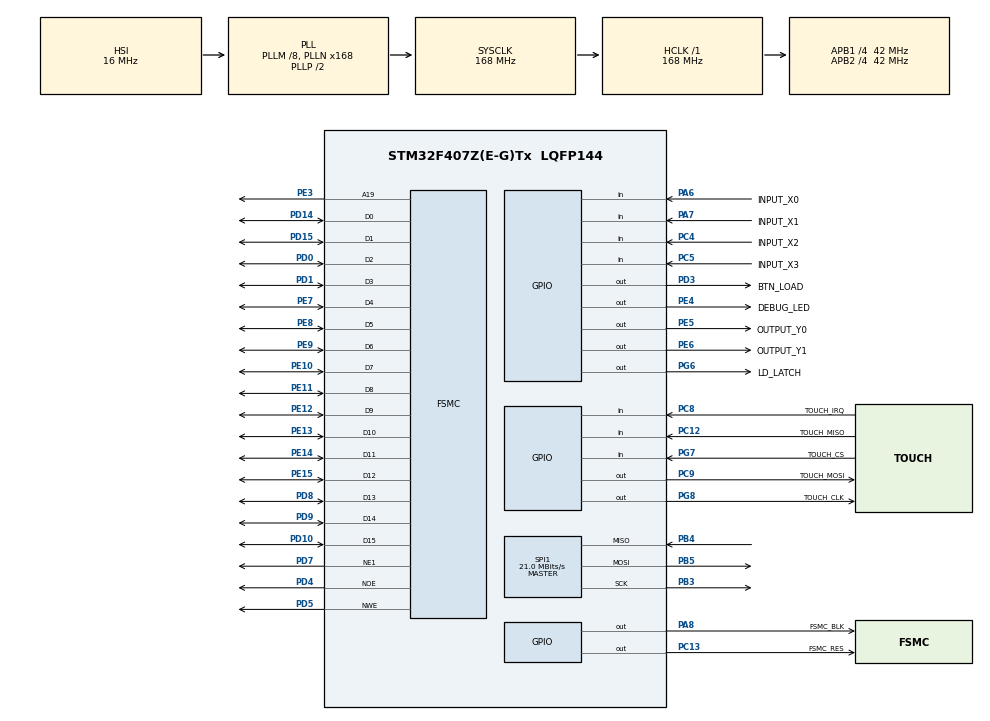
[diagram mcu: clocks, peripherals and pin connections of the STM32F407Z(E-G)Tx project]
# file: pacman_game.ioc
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FSMC.AddressSetupTime1=0xf
FSMC.BusTurnAroundDuration1=0
FSMC.DataSetupTime1=60
FSMC.ExtendedAddressSetupTime1=8
FSMC.ExtendedBusTurnAroundDuration1=0
FSMC.ExtendedDataSetupTime1=9
FSMC.ExtendedMode1=FSMC_EXTENDED_MODE_ENABLE
Mcu.Family=STM32F4
Mcu.Name=STM32F407Z(E-G)Tx
Mcu.Package=LQFP144
NVIC.PriorityGroup=NVIC_PRIORITYGROUP_4
NVIC.TIM2_IRQn=true\:0\:0\:false\:false\:true\:true\:true\:true
NVIC.TIM4_IRQn=true\:0\:0\:false\:false\:true\:true\:true\:true
PA13.Mode=Serial_Wire
PA13.Signal=SYS_JTMS-SWDIO
PA14.Mode=Serial_Wire
PA14.Signal=SYS_JTCK-SWCLK
PA6.GPIO_Label=INPUT_X0
PA6.Signal=GPIO_Input
PA7.GPIO_Label=INPUT_X1
PA7.Signal=GPIO_Input
PA8.GPIO_Label=FSMC_BLK
PA8.Signal=GPIO_Output
PB3.Mode=Full_Duplex_Master
PB3.Signal=SPI1_SCK
PB4.Mode=Full_Duplex_Master
PB4.Signal=SPI1_MISO
PB5.Mode=Full_Duplex_Master
PB5.Signal=SPI1_MOSI
PC12.GPIO_Label=TOUCH_MISO
PC12.Signal=GPIO_Input
PC13-ANTI_TAMP.GPIO_Label=FSMC_RES
PC13-ANTI_TAMP.Signal=GPIO_Output
PC4.GPIO_Label=INPUT_X2
PC4.Signal=GPIO_Input
PC5.GPIO_Label=INPUT_X3
PC5.Signal=GPIO_Input
PC8.GPIO_Label=TOUCH_IRQ
PC8.GPIO_PuPd=GPIO_NOPULL
PC8.Signal=GPIO_Input
PC9.GPIO_Label=TOUCH_MOSI
PC9.Signal=GPIO_Output
PD0.Signal=FSMC_D2_DA2
PD1.Signal=FSMC_D3_DA3
PD10.Signal=FSMC_D15_DA15
PD14.Signal=FSMC_D0_DA0
PD15.Signal=FSMC_D1_DA1
PD3.GPIO_Label=BTN_LOAD
PD3.Signal=GPIO_Output
PD4.Signal=FSMC_NOE
PD5.Signal=FSMC_NWE
PD7.Mode=NorPsramChipSelect1_1
PD7.Signal=FSMC_NE1
PD8.Signal=FSMC_D13_DA13
PD9.Signal=FSMC_D14_DA14
PE10.Signal=FSMC_D7_DA7
PE11.Signal=FSMC_D8_DA8
PE12.Signal=FSMC_D9_DA9
PE13.Signal=FSMC_D10_DA10
PE14.Signal=FSMC_D11_DA11
PE15.Signal=FSMC_D12_DA12
PE3.Signal=FSMC_A19
PE4.GPIO_Label=DEBUG_LED
PE4.Signal=GPIO_Output
PE5.GPIO_Label=OUTPUT_Y0
PE5.Signal=GPIO_Output
PE6.GPIO_Label=OUTPUT_Y1
PE6.Signal=GPIO_Output
PE7.Signal=FSMC_D4_DA4
PE8.Signal=FSMC_D5_DA5
PE9.Signal=FSMC_D6_DA6
PG6.GPIO_Label=LD_LATCH
PG6.Signal=GPIO_Output
PG7.GPIO_Label=TOUCH_CS
PG7.Signal=GPIO_Input
PG8.GPIO_Label=TOUCH_CLK
PG8.Signal=GPIO_Output
PH0-OSC_IN.Mode=HSE-External-Oscillator
PH0-OSC_IN.Signal=RCC_OSC_IN
PH1-OSC_OUT.Mode=HSE-External-Oscillator
PH1-OSC_OUT.Signal=RCC_OSC_OUT
ProjectManager.HeapSize=0x200
ProjectManager.StackSize=0x400
ProjectManager.TargetToolchain=STM32CubeIDE
RCC.48MHZClocksFreq_Value=84000000
RCC.AHBFreq_Value=168000000
RCC.APB1CLKDivider=RCC_HCLK_DIV4
RCC.APB1Freq_Value=42000000
RCC.APB1TimFreq_Value=84000000
RCC.APB2CLKDivider=RCC_HCLK_DIV4
RCC.APB2Freq_Value=42000000
RCC.APB2TimFreq_Value=84000000
RCC.CortexFreq_Value=168000000
RCC.HCLKFreq_Value=168000000
RCC.HSE_VALUE=8000000
RCC.HSI_VALUE=16000000
RCC.LSE_VALUE=32768
RCC.PLLM=8
RCC.PLLN=168
RCC.SYSCLKFreq_VALUE=168000000
RCC.SYSCLKSource=RCC_SYSCLKSOURCE_PLLCLK
RCC.VCOOutputFreq_Value=336000000
SH.FSMC_A19.0=FSMC_A19,A19_1
SH.FSMC_D0_DA0.0=FSMC_D0,16b-d1
SH.FSMC_D10_DA10.0=FSMC_D10,16b-d1
SH.FSMC_D11_DA11.0=FSMC_D11,16b-d1
SH.FSMC_D12_DA12.0=FSMC_D12,16b-d1
SH.FSMC_D13_DA13.0=FSMC_D13,16b-d1
SH.FSMC_D14_DA14.0=FSMC_D14,16b-d1
SH.FSMC_D15_DA15.0=FSMC_D15,16b-d1
SH.FSMC_D1_DA1.0=FSMC_D1,16b-d1
SH.FSMC_D2_DA2.0=FSMC_D2,16b-d1
SH.FSMC_D3_DA3.0=FSMC_D3,16b-d1
SH.FSMC_D4_DA4.0=FSMC_D4,16b-d1
SH.FSMC_D5_DA5.0=FSMC_D5,16b-d1
SH.FSMC_D6_DA6.0=FSMC_D6,16b-d1
SH.FSMC_D7_DA7.0=FSMC_D7,16b-d1
SH.FSMC_D8_DA8.0=FSMC_D8,16b-d1
SH.FSMC_D9_DA9.0=FSMC_D9,16b-d1
SH.FSMC_NOE.0=FSMC_NOE,Lcd1
SH.FSMC_NWE.0=FSMC_NWE,Lcd1
SPI1.BaudRatePrescaler=SPI_BAUDRATEPRESCALER_2
SPI1.CalculateBaudRate=21.0 MBits/s
SPI1.Direction=SPI_DIRECTION_2LINES
SPI1.Mode=SPI_MODE_MASTER
SPI1.VirtualType=VM_MASTER
TIM2.Period=100-1
TIM2.Prescaler=840-1
TIM4.Period=100-1
TIM4.Prescaler=840-1
VP_TIM2_VS_ClockSourceINT.Mode=Internal
VP_TIM4_VS_ClockSourceINT.Mode=Internal
board=custom

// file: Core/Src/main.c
/* USER CODE BEGIN Header */
/**
 ******************************************************************************
 * @file           : main.c
 * @brief          : Main program body
 ******************************************************************************
 * @attention
 *
 * <h2><center>&copy; Copyright (c) 2023 STMicroelectronics.
 * All rights reserved.</center></h2>
 *
 * This software component is licensed by ST under BSD 3-Clause license,
 * the "License"; You may not use this file except in compliance with the
 * License. You may obtain a copy of the License at:
 *                        opensource.org/licenses/BSD-3-Clause
 *
 ******************************************************************************
 */
/* USER CODE END Header */
#include "main.h"
#include "spi.h"
#include "tim.h"
#include "gpio.h"
#include "fsmc.h"

/* USER CODE BEGIN Includes */
#include "software_timer.h"
#include "led_7seg.h"
#include "button.h"
#include "lcd.h"
#include "picture.h"
#include "touch.h"
#include "pacman.h"
#include <stdlib.h>
/* USER CODE END Includes */

/* USER CODE BEGIN PV */
E_GAME_STATE current_state;
/* USER CODE END PV */

void SystemClock_Config(void);
/* USER CODE BEGIN PFP */
void init_system();

/* USER CODE END PFP */

int main(void)
{

  /* MCU Configuration--------------------------------------------------------*/

  /* Reset of all peripherals, Initializes the Flash interface and the Systick. */
  HAL_Init();

  /* Configure the system clock */
  SystemClock_Config();

  /* Initialize all configured peripherals */
  MX_GPIO_Init();
  MX_TIM2_Init();
  MX_SPI1_Init();
  MX_FSMC_Init();
  MX_TIM4_Init();
  /* USER CODE BEGIN 2 */
  init_system();

  /* USER CODE END 2 */

  /* Infinite loop */
  /* USER CODE BEGIN WHILE */
	while (1) {
		if (timer2_flag) {
			timer2_flag = 0;
			//button_scan();
			//game_process();
			game_loop_tick();
		}
	}

    /* USER CODE END WHILE */

}

void SystemClock_Config(void)
{
  RCC_OscInitTypeDef RCC_OscInitStruct = {0};
  RCC_ClkInitTypeDef RCC_ClkInitStruct = {0};

  /** Configure the main internal regulator output voltage
  */
  __HAL_RCC_PWR_CLK_ENABLE();
  __HAL_PWR_VOLTAGESCALING_CONFIG(PWR_REGULATOR_VOLTAGE_SCALE1);

  /** Initializes the RCC Oscillators according to the specified parameters
  * in the RCC_OscInitTypeDef structure.
  */
  RCC_OscInitStruct.OscillatorType = RCC_OSCILLATORTYPE_HSI;
  RCC_OscInitStruct.HSIState = RCC_HSI_ON;
  RCC_OscInitStruct.HSICalibrationValue = RCC_HSICALIBRATION_DEFAULT;
  RCC_OscInitStruct.PLL.PLLState = RCC_PLL_ON;
  RCC_OscInitStruct.PLL.PLLSource = RCC_PLLSOURCE_HSI;
  RCC_OscInitStruct.PLL.PLLM = 8;
  RCC_OscInitStruct.PLL.PLLN = 168;
  RCC_OscInitStruct.PLL.PLLP = RCC_PLLP_DIV2;
  RCC_OscInitStruct.PLL.PLLQ = 4;
  if (HAL_RCC_OscConfig(&RCC_OscInitStruct) != HAL_OK)
  {
    Error_Handler();
  }

  /** Initializes the CPU, AHB and APB buses clocks
  */
  RCC_ClkInitStruct.ClockType = RCC_CLOCKTYPE_HCLK|RCC_CLOCKTYPE_SYSCLK
                              |RCC_CLOCKTYPE_PCLK1|RCC_CLOCKTYPE_PCLK2;
  RCC_ClkInitStruct.SYSCLKSource = RCC_SYSCLKSOURCE_PLLCLK;
  RCC_ClkInitStruct.AHBCLKDivider = RCC_SYSCLK_DIV1;
  RCC_ClkInitStruct.APB1CLKDivider = RCC_HCLK_DIV4;
  RCC_ClkInitStruct.APB2CLKDivider = RCC_HCLK_DIV4;

  if (HAL_RCC_ClockConfig(&RCC_ClkInitStruct, FLASH_LATENCY_5) != HAL_OK)
  {
    Error_Handler();
  }
}

/* USER CODE BEGIN 4 */
void init_system() {
	button_init();
	led_7seg_init();
	lcd_init();

	timer2_init();
	timer2_set(50);

	timer4_init();
	timer4_set(1);

	touch_init();

	srand(HAL_GetTick());

	//game_init();
	home_screen_init();
	game_set_state(STATE_HOME);
}

/* USER CODE END 4 */

void Error_Handler(void)
{
	__disable_irq();
	while (1) {
	}
}
